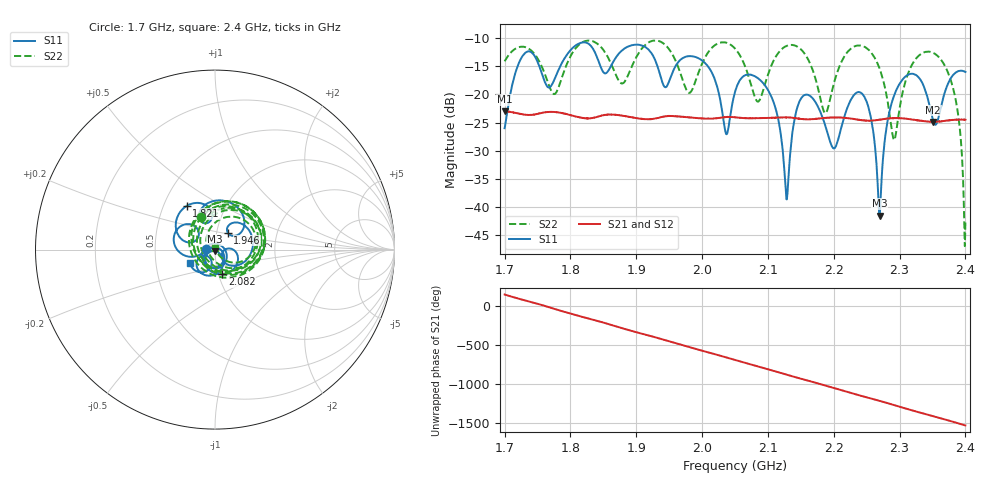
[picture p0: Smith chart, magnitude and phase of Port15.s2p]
# Hz S RI R 50
! CMT, CMT808U, 21440046, 21.4.3/4
! Date: 9/9/2026 12:58:57 AM
! Data: Format (Calibration Info)
! Freq	S11:Re/Im(F2)	S41:Re/Im(F2)	S14:Re/Im(F2)	S44:Re/Im(F2)
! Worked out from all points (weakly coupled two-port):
!   3001 points, 1.7 GHz to 2.4 GHz, reference 50 ohm
!   highest |S21| = -22.96 dB at 1.7 GHz (marker M1); lowest = -24.9 dB at 2.351 GHz (marker M2)
!   lowest |S11| = -41.5 dB at 2.27 GHz (marker M3), VSWR 1.02, Z = 49.9 - j0.837 ohm
!   |S11| at or under -10 dB: start of sweep to end of sweep
!   |S22| runs from -46.9 to -10.4 dB; largest |S21 - S12| = 0.001
!   S11 on the Smith chart (normalised r, x): 1.7 GHz: 0.90, +0.00; 1.821 GHz: 0.66, +0.35; 1.946 GHz: 1.13, +0.22; 2.082 GHz: 1.05, -0.29; 2.4 GHz: 0.75, -0.11
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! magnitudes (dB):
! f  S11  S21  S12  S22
! 1.7 GHz  -26.0  -23.0  -23.0  -14.1
! 1.7 GHz  -25.9  -23.0  -23.0  -14.1
! 1.73 GHz  -12.8  -23.6  -23.6  -11.6
! 1.775 GHz  -17.4  -23.1  -23.1  -19.9
! 1.817 GHz  -10.8  -24.1  -24.1  -10.9
! 1.821 GHz  -10.7  -24.2  -24.2  -10.6
! 1.934 GHz  -15.5  -24.1  -24.1  -10.5
! 1.946 GHz  -18.5  -23.8  -23.9  -11.5
! 1.98 GHz  -13.2  -24.0  -24.1  -19.7
! 2.037 GHz  -27.0  -24.0  -24.0  -10.8
! 2.05 GHz  -19.6  -24.0  -24.0  -11.9
! 2.082 GHz  -16.9  -24.2  -24.2  -20.9
! 2.128 GHz  -38.5  -24.1  -24.1  -11.4
! 2.167 GHz  -20.5  -24.4  -24.4  -15.2
! 2.2 GHz  -29.6  -24.1  -24.1  -18.0
! 2.245 GHz  -20.2  -24.6  -24.6  -11.5
! 2.27 GHz  -41.5  -24.5  -24.5  -15.4
! 2.284 GHz  -23.6  -24.2  -24.2  -22.4
! 2.32 GHz  -16.3  -24.4  -24.4  -14.5
! 2.351 GHz  -24.7  -24.9  -24.8  -12.6
! 2.385 GHz  -16.1  -24.5  -24.5  -20.8
! 2.4 GHz  -16.0  -24.5  -24.4  -42.6
